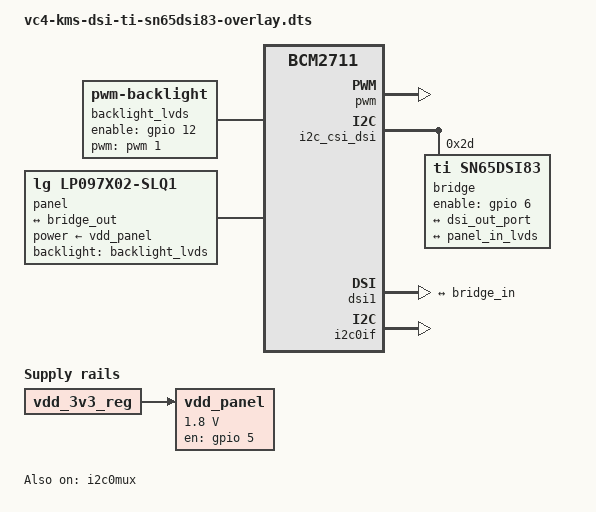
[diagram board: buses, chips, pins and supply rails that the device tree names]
/*
 * vc4-kms-dsi-sn65dsi8x-overlay.dts
 */

/dts-v1/;
/plugin/;
#include <dt-bindings/gpio/gpio.h>

/ {
	compatible = "brcm,bcm2711";

	/* PWM0 function */
	fragment@0 {
		target = <&gpio>;
		__overlay__ {
			pwm_pins: pwm_pins {
				brcm,pins = <13>;  // LVDS_PWM
				brcm,function = <4>; /* Alt0 */
			};
		};
	};

	fragment@1 {
		target = <&pwm>;
		frag1: __overlay__ {
			pinctrl-names = "default";
			pinctrl-0 = <&pwm_pins>;
			assigned-clock-rates = <100000000>;
			status = "okay";
		};
	};

	fragment@2 {
		target-path = "/";
		__overlay__ {
			vdd_panel: fixedregulator {
			    regulator-boot-on;
			    compatible = "regulator-fixed";
			    regulator-name = "lvds18";
			    regulator-min-microvolt = <1800000>;
			    regulator-max-microvolt = <1800000>;
			    gpio = <&gpio 5 0>; // LVDS_LDO_EN
			    startup-delay-us = <70000>;
			    enable-active-high;
			    vin-supply = <&vdd_3v3_reg>;
			};

			//#gpio-cells = <2>;
			/* Panel backlight through PWM0 on GPIO 13 */
			backlight_lvds: backlight {
				compatible = "pwm-backlight";
				pwms = <&pwm 1 5000000>; /* Period of 5000000ns means 200Hz */
				brightness-levels = <0  1000>;
				num-interpolated-steps = <1000>;
				default-brightness-level = <800>;
				enable-gpios = <&gpio 12 0>; // LVDS_PWM
			};

			panel: panel {
				compatible = "lg,lp097x02-slq1";
				power-supply = <&vdd_panel>;
				backlight = <&backlight_lvds>;

				port {
					panel_in_lvds: endpoint {
						remote-endpoint = <&bridge_out>;
					};
				};
			};
		};
	};

	fragment@3 {
		target = <&i2c_csi_dsi>;
		__overlay__ {
			#gpio-cells = <2>;
			#address-cells = <1>;
			#size-cells = <0>;
			status = "okay";

			// tps61177a@2c {
			// 	compatible = "ti,tps61177a";
			// 	reg = <0x2c>;
			// 	enable-gpios = <&gpio 6 0>;
			// };

			bridge@2d {
				compatible = "ti,sn65dsi83";
				reg = <0x2d>;
				enable-gpios = <&gpio 6 0>;  // LVDS_EN
				// IRQ pin not used? Would be LVDS_IRQ = gpio 26
				ports {
					#address-cells = <1>;
					#size-cells = <0>;

					port@0 {
						reg = <0>;
						bridge_in: endpoint {
							remote-endpoint = <&dsi_out_port>;
							data-lanes = <0 1 2>;
						};
					};

					port@2 {
						reg = <2>;
						bridge_out: endpoint {
							remote-endpoint = <&panel_in_lvds>;
						};
					};
				};
			};
		};
	};

	fragment@4 {
		target = <&dsi1>;
		__overlay__ {
			#address-cells = <1>;
			#size-cells = <0>;
			status = "okay";
			port {
				dsi_out_port: endpoint {
					remote-endpoint = <&bridge_in>;
					data-lanes = <0 1 2>;
				};
			};
		};
	};

	fragment@5 {
		target = <&i2c0if>;
		__overlay__ {
			status = "okay";
		};
	};
		
	fragment@6 {
		target = <&i2c0mux>;
		__overlay__ {
			status = "okay";
		};
	};
};
